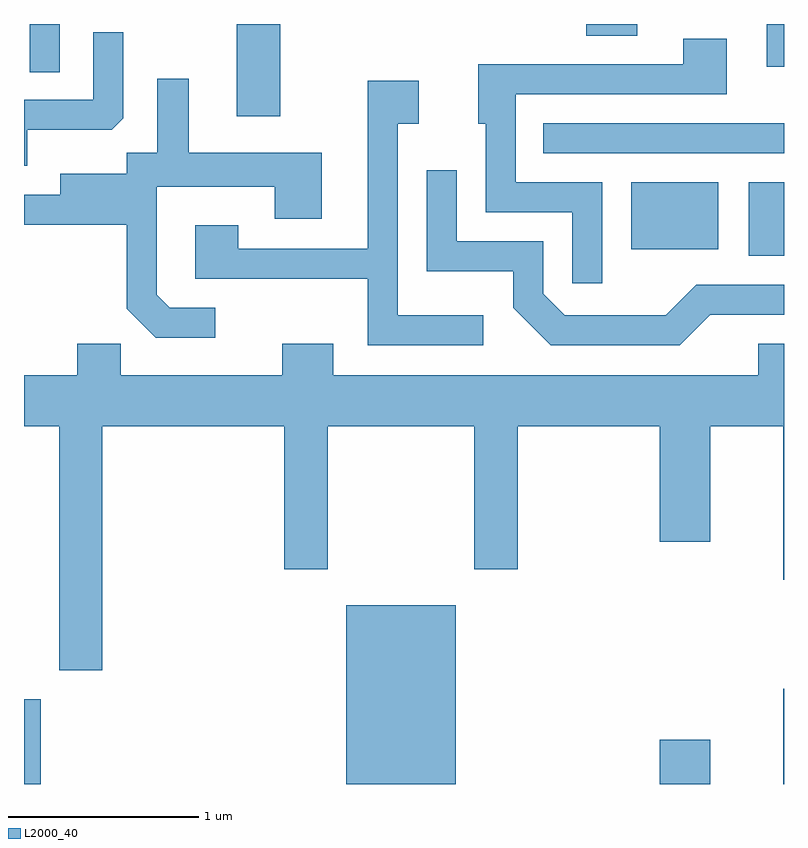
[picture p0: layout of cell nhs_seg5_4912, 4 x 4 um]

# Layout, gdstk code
import gdstk
lib = gdstk.Library(unit=1e-6, precision=1e-09)
def R(c, l, rs):  # rectangles x0, y0, x1, y1
    for r in rs: c.add(gdstk.rectangle(r[:2], r[2:], *l))
def P(c, l, *ps):  # polygons
    for p in ps: c.add(gdstk.Polygon(p, *l))
L2000_40 = (2000, 40)

nhs_seg5_4912 = lib.new_cell('nhs_seg5_4912')
R(nhs_seg5_4912, L2000_40, [(331.611,1406.072,331.699,1406.519), (333.306,1406.072,333.884,1407.014), (334.956,1406.072,335.224,1406.304), (335.606,1406.072,335.611,1406.573), (335.426,1408.851,335.611,1409.239), (334.806,1408.886,335.264,1409.239), (334.343,1409.391,335.611,1409.549), (332.731,1409.586,332.959,1410.072), (331.641,1409.818,331.799,1410.072), (335.521,1409.846,335.611,1410.072), (334.571,1410.011,334.839,1410.072)])
P(nhs_seg5_4912, L2000_40, [(331.629,1409.516),(332.074,1409.516),(332.134,1409.577),(332.134,1410.028),(331.976,1410.028),(331.976,1409.674),(331.611,1409.674),(331.611,1409.326),(331.629,1409.326)],
  [(334.654,1409.239),(334.199,1409.239),(334.199,1409.701),(335.309,1409.701),(335.309,1409.994),(335.081,1409.994),(335.081,1409.859),(334.001,1409.859),(334.001,1409.546),(334.041,1409.546),(334.041,1409.081),(334.496,1409.081),(334.496,1408.708),(334.654,1408.708)],
  [(332.618,1408.579),(332.377,1408.579),(332.309,1408.647),(332.309,1409.216),(332.931,1409.216),(332.931,1409.046),(333.179,1409.046),(333.179,1409.394),(332.479,1409.394),(332.479,1409.783),(332.311,1409.783),(332.311,1409.394),(332.151,1409.394),(332.151,1409.284),(331.801,1409.284),(331.801,1409.174),(331.611,1409.174),(331.611,1409.016),(332.151,1409.016),(332.151,1408.574),(332.304,1408.421),(332.618,1408.421)],
  [(334.028,1408.539),(333.579,1408.539),(333.579,1409.546),(333.689,1409.546),(333.689,1409.774),(333.421,1409.774),(333.421,1408.889),(332.739,1408.889),(332.739,1409.014),(332.511,1409.014),(332.511,1408.731),(333.421,1408.731),(333.421,1408.381),(334.028,1408.381)],
  [(335.222,1408.541),(335.611,1408.541),(335.611,1408.699),(335.149,1408.699),(334.989,1408.539),(334.457,1408.539),(334.344,1408.652),(334.344,1408.929),(333.889,1408.929),(333.889,1409.303),(333.731,1409.303),(333.731,1408.771),(334.186,1408.771),(334.186,1408.579),(334.384,1408.381),(335.062,1408.381)],
  [(332.024,1407.956),(332.981,1407.956),(332.981,1407.201),(333.209,1407.201),(333.209,1407.956),(333.981,1407.956),(333.981,1407.201),(334.209,1407.201),(334.209,1407.956),(334.956,1407.956),(334.956,1407.346),(335.224,1407.346),(335.224,1407.956),(335.606,1407.956),(335.606,1407.148),(335.611,1407.148),(335.611,1408.389),(335.476,1408.389),(335.476,1408.224),(333.239,1408.224),(333.239,1408.389),(332.971,1408.389),(332.971,1408.224),(332.119,1408.224),(332.119,1408.389),(331.891,1408.389),(331.891,1408.224),(331.611,1408.224),(331.611,1407.956),(331.796,1407.956),(331.796,1406.671),(332.024,1406.671)])

lib.write_gds('nhs_seg5_4912.gds')
